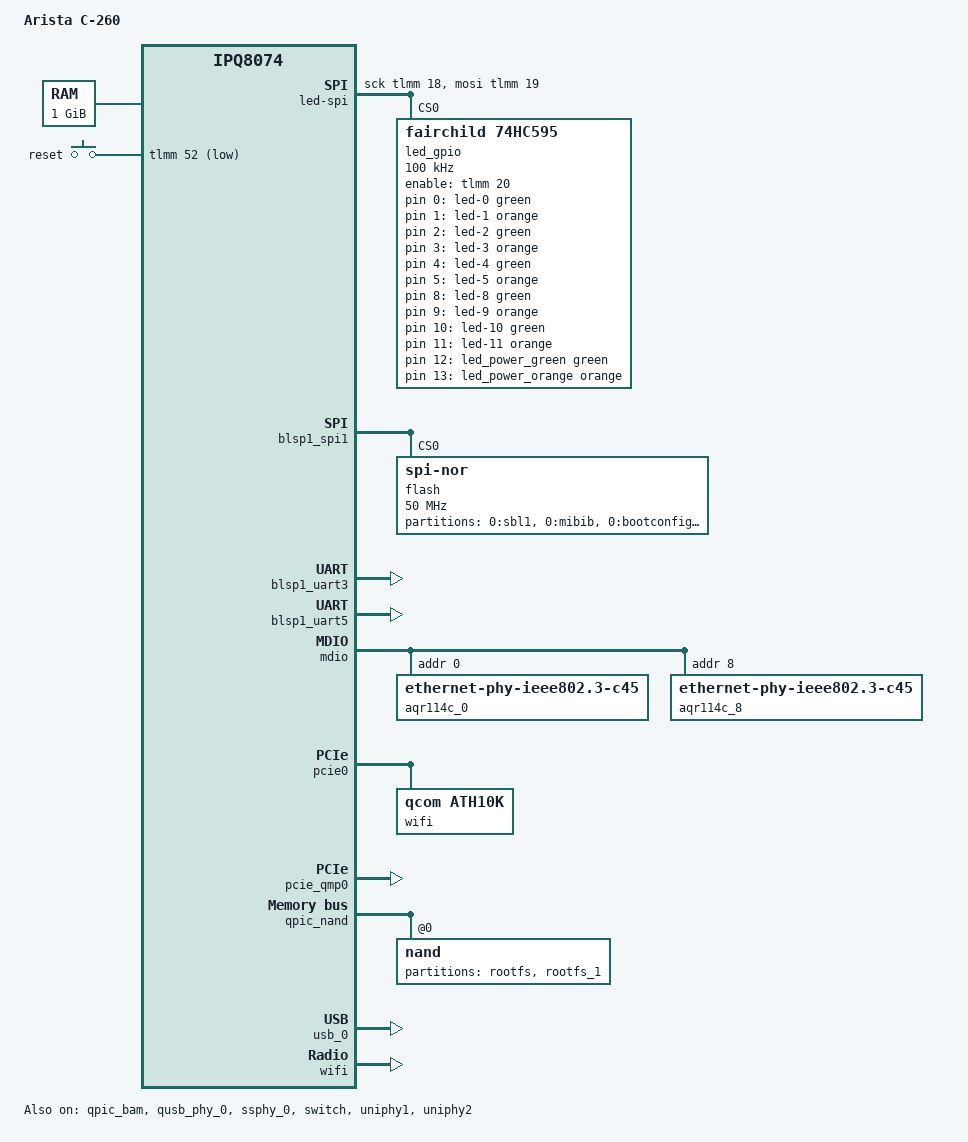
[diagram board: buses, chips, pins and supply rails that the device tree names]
// SPDX-License-Identifier: GPL-2.0-or-later OR MIT

/dts-v1/;

#include "ipq8074.dtsi"
#include "ipq8074-hk-cpu.dtsi"
#include "ipq8074-ess.dtsi"
#include <dt-bindings/gpio/gpio.h>
#include <dt-bindings/input/input.h>
#include <dt-bindings/leds/common.h>

/ {
	model = "Arista C-260";
	compatible = "arista,c-260", "qcom,ipq8074";

	aliases {
		serial0 = &blsp1_uart5;
		serial1 = &blsp1_uart3;
		led-boot = &led_power_orange;
		led-failsafe = &led_power_orange;
		led-running = &led_power_green;
		led-upgrade = &led_power_orange;
		label-mac-device = &port_lan1;
	};

	chosen {
		stdout-path = "serial0:115200n8";
		bootargs-append = " ubi.mtd=rootfs root=/dev/ubiblock0_1";
	};

	memory@40000000 {
		device_type = "memory";
		reg = <0x0 0x40000000 0x0 0x40000000>;
	};

	keys {
		compatible = "gpio-keys";
		pinctrl-0 = <&button_pins>;
		pinctrl-names = "default";

		reset {
			label = "reset";
			gpios = <&tlmm 52 GPIO_ACTIVE_LOW>;
			linux,code = <KEY_RESTART>;
		};
	};

	led-spi {
		compatible = "spi-gpio";
		#address-cells = <1>;
		#size-cells = <0>;
		sck-gpios = <&tlmm 18 GPIO_ACTIVE_HIGH>;
		mosi-gpios = <&tlmm 19 GPIO_ACTIVE_HIGH>;

		led_gpio: led-gpio@0 {
			compatible = "fairchild,74hc595";
			reg = <0>;
			enable-gpios = <&tlmm 20 GPIO_ACTIVE_HIGH>;
			spi-max-frequency = <100000>;
			gpio-controller;
			#gpio-cells = <2>;
			registers-number = <2>;
		};
	};

	leds {
		compatible = "gpio-leds";

		led-0 {
			color = <LED_COLOR_ID_GREEN>;
			function = LED_FUNCTION_LAN;
			function-enumerator = <2>;
			gpios = <&led_gpio 0 GPIO_ACTIVE_HIGH>;
		};

		led-1 {
			color = <LED_COLOR_ID_ORANGE>;
			function = LED_FUNCTION_LAN;
			function-enumerator = <2>;
			gpios = <&led_gpio 1 GPIO_ACTIVE_HIGH>;
		};

		led-2 {
			color = <LED_COLOR_ID_GREEN>;
			function = LED_FUNCTION_LAN;
			function-enumerator = <1>;
			gpios = <&led_gpio 2 GPIO_ACTIVE_HIGH>;
		};

		led-3 {
			color = <LED_COLOR_ID_ORANGE>;
			function = LED_FUNCTION_LAN;
			function-enumerator = <1>;
			gpios = <&led_gpio 3 GPIO_ACTIVE_HIGH>;
		};

		/* the QCA988x, "scanning radio" on the panel */
		led-4 {
			color = <LED_COLOR_ID_GREEN>;
			function = LED_FUNCTION_WLAN;
			gpios = <&led_gpio 4 GPIO_ACTIVE_HIGH>;
		};

		led-5 {
			color = <LED_COLOR_ID_ORANGE>;
			function = LED_FUNCTION_WLAN;
			gpios = <&led_gpio 5 GPIO_ACTIVE_HIGH>;
		};

		led-8 {
			color = <LED_COLOR_ID_GREEN>;
			function = LED_FUNCTION_WLAN_5GHZ;
			gpios = <&led_gpio 8 GPIO_ACTIVE_HIGH>;
		};

		led-9 {
			color = <LED_COLOR_ID_ORANGE>;
			function = LED_FUNCTION_WLAN_5GHZ;
			gpios = <&led_gpio 9 GPIO_ACTIVE_HIGH>;
		};

		led-10 {
			color = <LED_COLOR_ID_GREEN>;
			function = LED_FUNCTION_WLAN_2GHZ;
			gpios = <&led_gpio 10 GPIO_ACTIVE_HIGH>;
		};

		led-11 {
			color = <LED_COLOR_ID_ORANGE>;
			function = LED_FUNCTION_WLAN_2GHZ;
			gpios = <&led_gpio 11 GPIO_ACTIVE_HIGH>;
		};

		led_power_green: led-12 {
			color = <LED_COLOR_ID_GREEN>;
			function = LED_FUNCTION_POWER;
			gpios = <&led_gpio 12 GPIO_ACTIVE_HIGH>;
		};

		/* the one the bootloader lights */
		led_power_orange: led-13 {
			color = <LED_COLOR_ID_ORANGE>;
			function = LED_FUNCTION_POWER;
			gpios = <&led_gpio 13 GPIO_ACTIVE_HIGH>;
		};
	};
};

&blsp1_spi1 {
	status = "okay";

	flash@0 {
		compatible = "jedec,spi-nor";
		reg = <0>;
		spi-max-frequency = <50000000>;

		partitions {
			compatible = "fixed-partitions";
			#address-cells = <1>;
			#size-cells = <1>;

			partition@0 {
				label = "0:sbl1";
				reg = <0x0 0x50000>;
				read-only;
			};

			partition@50000 {
				label = "0:mibib";
				reg = <0x50000 0x10000>;
				read-only;
			};

			partition@60000 {
				label = "0:bootconfig";
				reg = <0x60000 0x20000>;
				read-only;
			};

			partition@80000 {
				label = "0:bootconfig1";
				reg = <0x80000 0x20000>;
				read-only;
			};

			partition@a0000 {
				label = "0:qsee";
				reg = <0xa0000 0x180000>;
				read-only;
			};

			partition@220000 {
				label = "0:qsee_1";
				reg = <0x220000 0x180000>;
				read-only;
			};

			partition@3a0000 {
				label = "0:devcfg";
				reg = <0x3a0000 0x10000>;
				read-only;
			};

			partition@3b0000 {
				label = "0:devcfg_1";
				reg = <0x3b0000 0x10000>;
				read-only;
			};

			partition@3c0000 {
				label = "0:apdp";
				reg = <0x3c0000 0x10000>;
				read-only;
			};

			partition@3d0000 {
				label = "0:apdp_1";
				reg = <0x3d0000 0x10000>;
				read-only;
			};

			partition@3e0000 {
				label = "0:rpm";
				reg = <0x3e0000 0x40000>;
				read-only;
			};

			partition@420000 {
				label = "0:rpm_1";
				reg = <0x420000 0x40000>;
				read-only;
			};

			partition@460000 {
				label = "0:cdt";
				reg = <0x460000 0x10000>;
				read-only;
			};

			partition@470000 {
				label = "0:cdt_1";
				reg = <0x470000 0x10000>;
				read-only;
			};

			partition@480000 {
				label = "0:appsblenv";
				reg = <0x480000 0x10000>;
			};

			partition@490000 {
				label = "0:appsbl";
				reg = <0x490000 0x100000>;
				read-only;
			};

			partition@590000 {
				label = "0:appsbl_1";
				reg = <0x590000 0x100000>;
				read-only;
			};

			partition@690000 {
				label = "0:art";
				reg = <0x690000 0x40000>;
				read-only;

				nvmem-layout {
					compatible = "fixed-layout";
					#address-cells = <1>;
					#size-cells = <1>;

					/* 0x0-0x12 hold the reference design's placeholders */
					macaddr_art_18: macaddr@18 {
						reg = <0x18 0x6>;
					};

					macaddr_art_1e: macaddr@1e {
						reg = <0x1e 0x6>;
					};

					caldata_ipq8074: calibration@1000 {
						reg = <0x1000 0x20000>;
					};

					caldata_qca988x: calibration@33000 {
						reg = <0x33000 0x844>;
					};
				};
			};

			/* the Aquantia PHYs' firmware, which the bootloader loads */
			partition@6d0000 {
				label = "0:ethphyfw";
				reg = <0x6d0000 0x80000>;
				read-only;
			};

			partition@750000 {
				label = "0:hlos";
				reg = <0x750000 0x800000>;
				read-only;
			};

			partition@f50000 {
				label = "0:hlos_1";
				reg = <0xf50000 0x800000>;
				read-only;
			};

			partition@1750000 {
				label = "config";
				reg = <0x1750000 0x400000>;
				read-only;
			};

			partition@1b50000 {
				label = "logging";
				reg = <0x1b50000 0x100000>;
				read-only;
			};

			partition@1c50000 {
				label = "reserved";
				reg = <0x1c50000 0x3b0000>;
				read-only;
			};
		};
	};
};

/*
 * the CSR8811 Bluetooth controller (RTS/CTS; enable on gpio51); it needs
 * its PS keys loaded over BCSP before it runs as an H4 controller
 */
&blsp1_uart3 {
	status = "okay";
};

&blsp1_uart5 {
	status = "okay";
};

&edma {
	status = "okay";
};

&mdio {
	status = "okay";

	/* Ethernet 2 */
	aqr114c_0: ethernet-phy@0 {
		compatible = "ethernet-phy-ieee802.3-c45";
		reg = <0>;
	};

	/* Ethernet 1 */
	aqr114c_8: ethernet-phy@8 {
		compatible = "ethernet-phy-ieee802.3-c45";
		reg = <8>;
	};
};

&pcie0 {
	status = "okay";
	perst-gpios = <&tlmm 58 GPIO_ACTIVE_LOW>;

	pcie@0 {
		/* QCA988x: the third radio, 2.4/5 GHz */
		wifi@0,0 {
			compatible = "qcom,ath10k";
			reg = <0x00010000 0 0 0 0>;
			nvmem-cells = <&caldata_qca988x>;
			nvmem-cell-names = "calibration";
		};
	};
};

&pcie_qmp0 {
	status = "okay";
};

&qpic_bam {
	status = "okay";
};

&qpic_nand {
	status = "okay";

	/* absorbs the partitions the bootloader adds at boot */
	partitions {
		status = "disabled";
	};

	nand@0 {
		reg = <0>;
		nand-ecc-strength = <4>;
		nand-ecc-step-size = <512>;
		nand-bus-width = <8>;

		partitions {
			compatible = "fixed-partitions";
			#address-cells = <1>;
			#size-cells = <1>;

			/* the stock firmware's first slot */
			partition@0 {
				label = "rootfs";
				reg = <0x0 0x10000000>;
				linux,rootfs;
			};

			/* the stock firmware's second slot, kept as a fallback */
			partition@10000000 {
				label = "rootfs_1";
				reg = <0x10000000 0x10000000>;
				read-only;
			};
		};
	};
};

&qusb_phy_0 {
	status = "okay";
};

&ssphy_0 {
	status = "okay";
};

&switch {
	status = "okay";

	ports {
		#address-cells = <1>;
		#size-cells = <0>;

		port@0 {
			reg = <0>;
			ethernet = <&edma>;
			phy-mode = "internal";

			fixed-link {
				speed = <1000>;
				full-duplex;
			};
		};

		port_lan1: port@5 {
			reg = <5>;
			label = "lan1";
			phy-handle = <&aqr114c_8>;
			phy-mode = "usxgmii";
			managed = "in-band-status";
			pcs-handle = <&uniphy1 0>;
			nvmem-cells = <&macaddr_art_18>;
			nvmem-cell-names = "mac-address";
		};

		port@6 {
			reg = <6>;
			label = "lan2";
			phy-handle = <&aqr114c_0>;
			phy-mode = "usxgmii";
			managed = "in-band-status";
			pcs-handle = <&uniphy2 0>;
			nvmem-cells = <&macaddr_art_1e>;
			nvmem-cell-names = "mac-address";
		};
	};
};

&tlmm {
	button_pins: button-state {
		pins = "gpio52";
		function = "gpio";
		drive-strength = <8>;
		bias-pull-up;
	};
};

&uniphy1 {
	status = "okay";
};

&uniphy2 {
	status = "okay";
};

&usb_0 {
	status = "okay";
};

&wifi {
	status = "okay";
	qcom,calibration-variant = "Arista-C260";
	nvmem-cells = <&caldata_ipq8074>;
	nvmem-cell-names = "calibration";
};
